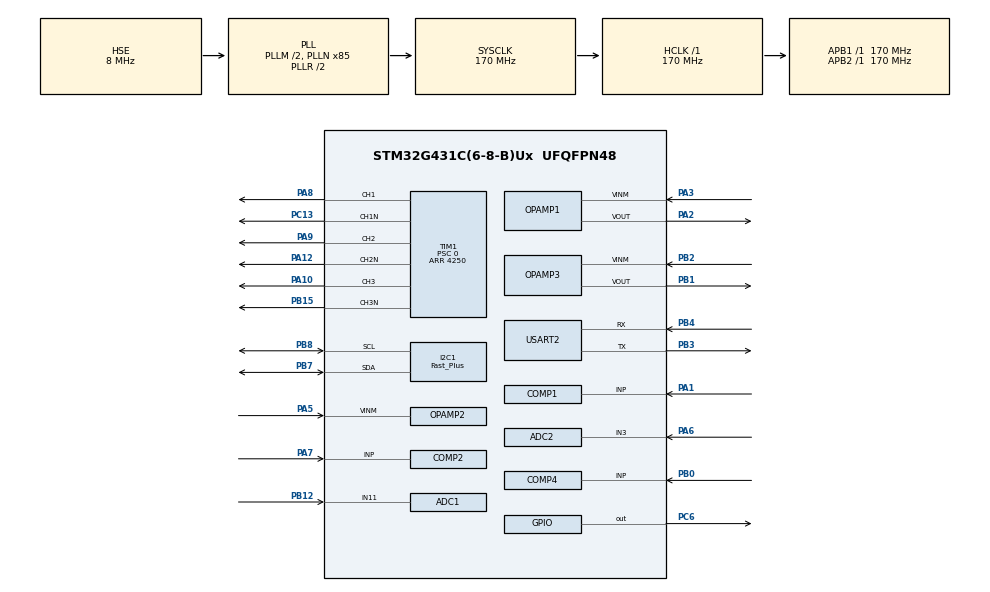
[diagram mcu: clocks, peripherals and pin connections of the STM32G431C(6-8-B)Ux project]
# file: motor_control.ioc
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ADC1.Channel-24\#ChannelRegularConversion=ADC_CHANNEL_11
ADC1.ClockPrescaler=ADC_CLOCK_ASYNC_DIV4
ADC1.EOCSelection=ADC_EOC_SINGLE_CONV
ADC1.EnableInjectedConversion=ENABLE
ADC1.ExternalTrigInjecConv=ADC_EXTERNALTRIGINJEC_T1_CC4
ADC1.InjNumberOfConversion=2
ADC1.InjectedChannel-25\#ChannelInjectedConversion=ADC_CHANNEL_3
ADC1.InjectedChannel-26\#ChannelInjectedConversion=ADC_CHANNEL_12
ADC1.InjectedOffsetNumber-25\#ChannelInjectedConversion=ADC_OFFSET_NONE
ADC1.InjectedOffsetNumber-26\#ChannelInjectedConversion=ADC_OFFSET_NONE
ADC1.InjectedRank-25\#ChannelInjectedConversion=1
ADC1.InjectedRank-26\#ChannelInjectedConversion=2
ADC1.InjectedSamplingTime-25\#ChannelInjectedConversion=ADC_SAMPLETIME_12CYCLES_5
ADC1.InjectedSamplingTime-26\#ChannelInjectedConversion=ADC_SAMPLETIME_12CYCLES_5
ADC1.NbrOfConversionFlag=1
ADC1.OffsetNumber-24\#ChannelRegularConversion=ADC_OFFSET_NONE
ADC1.Rank-24\#ChannelRegularConversion=1
ADC1.Rank1_Channel=ADC_CHANNEL_3
ADC1.Rank2_Channel=ADC_CHANNEL_12
ADC1.SamplingTime-24\#ChannelRegularConversion=ADC_SAMPLETIME_47CYCLES_5
ADC1.injectedQueueMode=DISABLE
ADC1.master=1
ADC2.ClockPrescaler=ADC_CLOCK_ASYNC_DIV4
ADC2.DMAContinuousRequests=DISABLE
ADC2.EOCSelection=ADC_EOC_SINGLE_CONV
ADC2.EnableInjectedConversion=ENABLE
ADC2.EnableRegularConversion=DISABLE
ADC2.ExternalTrigInjecConv=ADC_EXTERNALTRIGINJEC_T1_CC4
ADC2.InjNumberOfConversion=1
ADC2.InjectedChannel-2\#ChannelInjectedConversion=ADC_CHANNEL_3
ADC2.InjectedOffsetNumber-2\#ChannelInjectedConversion=ADC_OFFSET_NONE
ADC2.InjectedRank-2\#ChannelInjectedConversion=1
ADC2.InjectedSamplingTime-2\#ChannelInjectedConversion=ADC_SAMPLETIME_12CYCLES_5
ADC2.Rank2_Channel=ADC_CHANNEL_VOPAMP3_ADC2
ADC2.injectedQueueMode=DISABLE
I2C1.I2C_Speed_Mode=I2C_Fast_Plus
I2C1.Timing=0x00802172
Mcu.Family=STM32G4
Mcu.Name=STM32G431C(6-8-B)Ux
Mcu.Package=UFQFPN48
NVIC.ADC1_2_IRQn=true\:2\:0\:true\:false\:true\:true\:true
NVIC.PriorityGroup=NVIC_PRIORITYGROUP_3
NVIC.TIM1_BRK_TIM15_IRQn=true\:4\:1\:true\:false\:true\:true\:true
NVIC.TIM1_UP_TIM16_IRQn=true\:0\:0\:false\:false\:true\:true\:true
OPAMP1.PgaGain=OPAMP_PGA_GAIN_8_OR_MINUS_7
OPAMP2.PgaGain=OPAMP_PGA_GAIN_8_OR_MINUS_7
OPAMP3.PgaGain=OPAMP_PGA_GAIN_8_OR_MINUS_7
PA1.Signal=SharedAnalog_PA1
PA10.Signal=S_TIM1_CH3
PA12.Mode=PWM Generation2 CH2 CH2N
PA12.Signal=TIM1_CH2N
PA2.Signal=SharedAnalog_PA2
PA3.Mode=PGA Connected-INVERTINGINPUT_IO0_BIAS
PA3.Signal=OPAMP1_VINM
PA5.Mode=PGA Connected-INVERTINGINPUT_IO0_BIAS
PA5.Signal=OPAMP2_VINM
PA6.Signal=SharedAnalog_PA6
PA7.Signal=SharedAnalog_PA7
PA8.Signal=S_TIM1_CH1
PA9.Signal=S_TIM1_CH2
PB0.Signal=SharedAnalog_PB0
PB1.Signal=SharedAnalog_PB1
PB12.Mode=IN11-Single-Ended
PB12.Signal=ADC1_IN11
PB15.Mode=PWM Generation3 CH3 CH3N
PB15.Signal=TIM1_CH3N
PB2.Mode=PGA Connected-INVERTINGINPUT_IO0_BIAS
PB2.Signal=OPAMP3_VINM
PB3.Mode=Asynchronous
PB3.Signal=USART2_TX
PB4.Mode=Asynchronous
PB4.Signal=USART2_RX
PB7.GPIO_FM7=__NULL
PB7.GPIO_Mode=GPIO_MODE_AF_OD
PB7.GPIO_PuPdOD=GPIO_PULLUP
PB7.GPIO_Speed=GPIO_SPEED_FREQ_LOW
PB7.Mode=I2C
PB7.Signal=I2C1_SDA
PB8-BOOT0.GPIO_FM8=__NULL
PB8-BOOT0.GPIO_Mode=GPIO_MODE_AF_OD
PB8-BOOT0.GPIO_PuPdOD=GPIO_PULLUP
PB8-BOOT0.GPIO_Speed=GPIO_SPEED_FREQ_LOW
PB8-BOOT0.Mode=I2C
PB8-BOOT0.Signal=I2C1_SCL
PC13.Mode=PWM Generation1 CH1 CH1N
PC13.Signal=TIM1_CH1N
PC6.Signal=GPIO_Output
PF0-OSC_IN.Mode=HSE-External-Oscillator
PF0-OSC_IN.Signal=RCC_OSC_IN
PF1-OSC_OUT.Mode=HSE-External-Oscillator
PF1-OSC_OUT.Signal=RCC_OSC_OUT
ProjectManager.HeapSize=0x400
ProjectManager.StackSize=0x800
ProjectManager.TargetToolchain=MDK-ARM V5
RCC.ADC12Freq_Value=170000000
RCC.AHBFreq_Value=170000000
RCC.APB1Freq_Value=170000000
RCC.APB1TimFreq_Value=170000000
RCC.APB2Freq_Value=170000000
RCC.APB2TimFreq_Value=170000000
RCC.CortexFreq_Value=170000000
RCC.EXTERNAL_CLOCK_VALUE=12288000
RCC.HCLKFreq_Value=170000000
RCC.HSE_VALUE=8000000
RCC.HSI48_VALUE=48000000
RCC.HSI_VALUE=16000000
RCC.LSE_VALUE=32768
RCC.PLLM=RCC_PLLM_DIV2
RCC.PLLN=85
RCC.PLLSourceVirtual=RCC_PLLSOURCE_HSE
RCC.SYSCLKFreq_VALUE=170000000
RCC.SYSCLKSource=RCC_SYSCLKSOURCE_PLLCLK
RCC.USBFreq_Value=170000000
RCC.VCOOutputFreq_Value=340000000
SH.S_TIM1_CH1.0=TIM1_CH1,PWM Generation1 CH1 CH1N
SH.S_TIM1_CH2.0=TIM1_CH2,PWM Generation2 CH2 CH2N
SH.S_TIM1_CH3.0=TIM1_CH3,PWM Generation3 CH3 CH3N
SH.SharedAnalog_PA1.0=COMP1_INP,INP
SH.SharedAnalog_PA1.1=OPAMP1_VINP,PGA Connected-INVERTINGINPUT_IO0_BIAS
SH.SharedAnalog_PA2.0=OPAMP1_VOUT,PGA Connected-INVERTINGINPUT_IO0_BIAS
SH.SharedAnalog_PA2.1=ADC1_IN3,IN3-Single-Ended
SH.SharedAnalog_PA6.0=ADC2_IN3,IN3-Single-Ended
SH.SharedAnalog_PA6.1=OPAMP2_VOUT,PGA Connected-INVERTINGINPUT_IO0_BIAS
SH.SharedAnalog_PA7.0=COMP2_INP,INP
SH.SharedAnalog_PA7.1=OPAMP2_VINP,PGA Connected-INVERTINGINPUT_IO0_BIAS
SH.SharedAnalog_PB0.0=COMP4_INP,INP
SH.SharedAnalog_PB0.1=OPAMP3_VINP,PGA Connected-INVERTINGINPUT_IO0_BIAS
SH.SharedAnalog_PB1.0=OPAMP3_VOUT,PGA Connected-INVERTINGINPUT_IO0_BIAS
SH.SharedAnalog_PB1.1=ADC1_IN12,IN12-Single-Ended
TIM1.AsymmetricalDeadTime=DISABLE
TIM1.AutoReloadPreload=TIM_AUTORELOAD_PRELOAD_DISABLE
TIM1.Break2Filter=3
TIM1.Break2State=TIM_BREAK2_DISABLE
TIM1.Channel-PWM\ Generation1\ CH1\ CH1N=TIM_CHANNEL_1
TIM1.Channel-PWM\ Generation2\ CH2\ CH2N=TIM_CHANNEL_2
TIM1.Channel-PWM\ Generation3\ CH3\ CH3N=TIM_CHANNEL_3
TIM1.Channel-PWM\ Generation4\ No\ Output=TIM_CHANNEL_4
TIM1.CounterMode=TIM_COUNTERMODE_CENTERALIGNED1
TIM1.DeadTime=200
TIM1.DeadTimePreload=DISABLE
TIM1.FallingDeadTime=70
TIM1.LockLevel=TIM_LOCKLEVEL_1
TIM1.OCMode_PWM-PWM\ Generation4\ No\ Output=TIM_OCMODE_PWM2
TIM1.OffStateIDLEMode=TIM_OSSI_ENABLE
TIM1.OffStateRunMode=TIM_OSSR_ENABLE
TIM1.PeriodNoDither=4250
TIM1.Prescaler=0
TIM1.PulseNoDither_1=0
TIM1.PulseNoDither_2=0
TIM1.PulseNoDither_3=0
TIM1.RepetitionCounter=0
TIM1.SourceBRK2COMP1=TIM_BREAKINPUTSOURCE_ENABLE
TIM1.SourceBRK2COMP2=TIM_BREAKINPUTSOURCE_ENABLE
TIM1.SourceBRK2COMP4=TIM_BREAKINPUTSOURCE_ENABLE
TIM1.SourceBRKCOMP1=TIM_BREAKINPUTSOURCE_DISABLE
TIM1.SourceBRKCOMP2=TIM_BREAKINPUTSOURCE_DISABLE
TIM1.SourceBRKCOMP4=TIM_BREAKINPUTSOURCE_DISABLE
TIM1.TIM_MasterOutputTrigger=TIM_TRGO_OC4REF
USART2.VirtualMode-Asynchronous=VM_ASYNC
USART2.WordLength=WORDLENGTH_8B
VP_COMP1_VS_VREFINT14.Mode=VREFINT_14
VP_COMP2_VS_VREFINT14.Mode=VREFINT_14
VP_COMP4_VS_VREFINT14.Mode=VREFINT_14
VP_CORDIC_VS_CORDIC.Mode=CORDIC_Activate
VP_FMAC_VS_FMAC.Mode=FMAC_Activate
VP_SYS_VS_DBSignals.Mode=DisableDeadBatterySignals
VP_TIM1_VS_no_output4.Mode=PWM Generation4 No Output
board=custom

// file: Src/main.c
/* USER CODE BEGIN Header */
/**
  ******************************************************************************
  * @file           : main.c
  * @brief          : Main program body
  ******************************************************************************
  * @attention
  *
  * <h2><center>&copy; Copyright (c) 2020 STMicroelectronics.
  * All rights reserved.</center></h2>
  *
  * This software component is licensed by ST under BSD 3-Clause license,
  * the "License"; You may not use this file except in compliance with the
  * License. You may obtain a copy of the License at:
  *                        opensource.org/licenses/BSD-3-Clause
  *
  ******************************************************************************
  */
/* USER CODE END Header */

#include "main.h"

/* USER CODE BEGIN Includes */
#include <stdio.h>
#include <math.h>
/* USER CODE END Includes */

ADC_HandleTypeDef hadc1;
ADC_HandleTypeDef hadc2;

COMP_HandleTypeDef hcomp1;
COMP_HandleTypeDef hcomp2;
COMP_HandleTypeDef hcomp4;

CORDIC_HandleTypeDef hcordic;

FMAC_HandleTypeDef hfmac;

I2C_HandleTypeDef hi2c1;

OPAMP_HandleTypeDef hopamp1;
OPAMP_HandleTypeDef hopamp2;
OPAMP_HandleTypeDef hopamp3;

TIM_HandleTypeDef htim1;

UART_HandleTypeDef huart2;

/* USER CODE BEGIN PV */
uint8_t adc_data_ready;
uint16_t buff[3];
uint16_t arm_A_raw_current;
uint16_t arm_B_raw_current;
uint16_t arm_C_raw_current;
uint16_t opamp_3_raw;
uint16_t buff_data[3];
uint16_t buff_2[2];

uint16_t pulse_ch1 = 0;
uint16_t pulse_ch2 = 0;
uint16_t pulse_ch3 = 0;

float Uv_ampl = 0;
float Uv_ang = 0;
float rot_ang_global = 0;

uint8_t sector_number;
float Beta_ang;
float MAX_MODULATION = 0.8660254;
float coeff_timing = 1.7320508;
float PWM_MAX_VAL = 4250;
float eq_first_part;
float t_a, t_b, t_zero;
uint16_t t1, t2, t3, t4;

uint8_t return_value[2];
uint16_t raw_angle;
float res_angle;
HAL_StatusTypeDef status = HAL_OK;
/* USER CODE END PV */

void SystemClock_Config(void);
static void MX_GPIO_Init(void);
static void MX_OPAMP1_Init(void);
static void MX_OPAMP2_Init(void);
static void MX_OPAMP3_Init(void);
static void MX_TIM1_Init(void);
static void MX_USART2_UART_Init(void);
static void MX_ADC1_Init(void);
static void MX_ADC2_Init(void);
static void MX_CORDIC_Init(void);
static void MX_FMAC_Init(void);
static void MX_I2C1_Init(void);
static void MX_COMP1_Init(void);
static void MX_COMP2_Init(void);
static void MX_COMP4_Init(void);
/* USER CODE BEGIN PFP */
#ifdef __GNUC__
/* With GCC, small printf (option LD Linker->Libraries->Small printf
   set to 'Yes') calls __io_putchar() */
#define PUTCHAR_PROTOTYPE int __io_putchar(int ch)
#else
#define PUTCHAR_PROTOTYPE int fputc(int ch, FILE *f)
#endif /* __GNUC__ */
/* USER CODE END PFP */

int main(void)
{
  /* USER CODE BEGIN 1 */
	int cnt = 0;
  /* USER CODE END 1 */

  /* MCU Configuration--------------------------------------------------------*/

  /* Reset of all peripherals, Initializes the Flash interface and the Systick. */
  HAL_Init();

  /* Configure the system clock */
  SystemClock_Config();

  /* Initialize all configured peripherals */
  MX_GPIO_Init();
  MX_OPAMP1_Init();
  MX_OPAMP2_Init();
  MX_OPAMP3_Init();
  MX_TIM1_Init();
  MX_USART2_UART_Init();
  MX_ADC1_Init();
  MX_ADC2_Init();
  MX_CORDIC_Init();
  MX_FMAC_Init();
  MX_I2C1_Init();
  MX_COMP1_Init();
  MX_COMP2_Init();
  MX_COMP4_Init();
  /* USER CODE BEGIN 2 */
//    HAL_ADC_Start_DMA(&hadc1, (uint32_t*)buff, 3);
//    HAL_ADC_Start_DMA(&hadc2, (uint32_t*)buff_2, 1);
	HAL_COMP_Start(&hcomp1);
	HAL_COMP_Start(&hcomp2);
	HAL_COMP_Start(&hcomp4);
	HAL_OPAMP_Start(&hopamp1);
	HAL_OPAMP_Start(&hopamp2);
	HAL_OPAMP_Start(&hopamp3);

	__HAL_ADC_ENABLE_IT(&hadc1,ADC_IT_JEOS);
	__HAL_ADC_ENABLE_IT(&hadc2,ADC_IT_JEOS);
	HAL_ADCEx_InjectedStart_IT(&hadc1);
	HAL_ADCEx_InjectedStart_IT(&hadc2);

	HAL_ADCEx_Calibration_Start(&hadc1, ADC_SINGLE_ENDED);
	HAL_ADCEx_Calibration_Start(&hadc2, ADC_SINGLE_ENDED);

	__HAL_TIM_ENABLE_IT(&htim1, TIM_IT_UPDATE);
	HAL_TIM_Base_Start(&htim1);
    HAL_TIM_PWM_Start(&htim1, TIM_CHANNEL_1);
    HAL_TIM_PWM_Start(&htim1, TIM_CHANNEL_2);
    HAL_TIM_PWM_Start(&htim1, TIM_CHANNEL_3);
	HAL_TIM_PWM_Start(&htim1, TIM_CHANNEL_4);

    HAL_TIMEx_PWMN_Start(&htim1, TIM_CHANNEL_1);
    HAL_TIMEx_PWMN_Start(&htim1, TIM_CHANNEL_2);
    HAL_TIMEx_PWMN_Start(&htim1, TIM_CHANNEL_3);

    pulse_ch1 = 400;
    pulse_ch2 = 800;
    pulse_ch3 = 400;
    Uv_ampl = 0.8;
	HAL_GPIO_WritePin(GPIOC, GPIO_PIN_6, GPIO_PIN_SET);

	HAL_ADC_Start_IT(&hadc1);
	HAL_ADC_Start_IT(&hadc2);

  /* USER CODE END 2 */

  /* Infinite loop */
  /* USER CODE BEGIN WHILE */
    while (1)
    {
    HAL_Delay(5);
    Uv_ang += 50;
	if(Uv_ang >= 360)
		Uv_ang = 0;

    /* Calculate Beta and sector */
    sector_number = (uint8_t)floor(Uv_ang/60.0) + 1;
    Beta_ang = Uv_ang - 60.0*(sector_number-1);

    /* Calculate t_a, t_b, t_0*/
    eq_first_part = coeff_timing * PWM_MAX_VAL * Uv_ampl;

    t_a = eq_first_part * sin((60.0-Beta_ang)*(float)0.0035367765);
    t_b = eq_first_part * sin((Beta_ang)*(float)0.0035367765);
    t_zero = PWM_MAX_VAL - t_a - t_b;

    // t_a     = Uv_ampl * PWM_MAX_VAL * sin((60.0-Beta_ang)*(float)0.0035367765);
    // t_b     = Uv_ampl * PWM_MAX_VAL * sin((Beta_ang)*(float)0.0035367765);
    // t_zero  = PWM_MAX_VAL - t_a - t_b;

    if(t_zero < 0)
        t_zero = 0;

    /* Set pulse values */
    t1 = (uint16_t) floor(t_a + t_b + t_zero/2.0);
    t2 = (uint16_t) floor(t_b + t_zero/2.0);
    t3 = (uint16_t) floor(t_a + t_zero/2.0);
    t4 = (uint16_t) floor(t_zero/2.0);

    switch (sector_number)
    {
    case 1:
        pulse_ch1 = t1;
        pulse_ch2 = t2;
        pulse_ch3 = t4;
        break;
    case 2:
        pulse_ch1 = t3;
        pulse_ch2 = t1;
        pulse_ch3 = t4;
        break;
    case 3:
        pulse_ch1 = t4;
        pulse_ch2 = t1;
        pulse_ch3 = t2;
        break;
    case 4:
        pulse_ch1 = t4;
        pulse_ch2 = t3;
        pulse_ch3 = t1;
        break;
    case 5:
        pulse_ch1 = t2;
        pulse_ch2 = t4;
        pulse_ch3 = t1;
        break;
    case 6:
        pulse_ch1 = t1;
        pulse_ch2 = t4;
        pulse_ch3 = t3;
        break;

    default:
        pulse_ch1 = t1;
        pulse_ch2 = t2;
        pulse_ch3 = t4;
        break;
    }

    /* Set timer pulse */
    __HAL_TIM_SET_COMPARE(&htim1, TIM_CHANNEL_1, pulse_ch1);
    __HAL_TIM_SET_COMPARE(&htim1, TIM_CHANNEL_2, pulse_ch2);
    __HAL_TIM_SET_COMPARE(&htim1, TIM_CHANNEL_3, pulse_ch3);

    /* Read encoder */

    status = HAL_I2C_Mem_Read(&hi2c1, 0x36<<1, 0x0E, I2C_MEMADD_SIZE_8BIT, (return_value), 2, 100);
	raw_angle = (uint16_t)(return_value[0] << 8) + return_value[1];
	res_angle = 360.0 / 4096.0 * raw_angle;

	if(cnt == 10)
	{
		printf("%f \n", res_angle);
//		printf("%d %d %d %d\n", buff_data[0], buff_data[1], buff_data[2], buff_2[0]);
//		printf("%d\n", buff_data[1]);
		cnt = 0;
	}
	cnt ++;

    /* USER CODE END WHILE */

    }
}

void SystemClock_Config(void)
{
  RCC_OscInitTypeDef RCC_OscInitStruct = {0};
  RCC_ClkInitTypeDef RCC_ClkInitStruct = {0};
  RCC_PeriphCLKInitTypeDef PeriphClkInit = {0};

  /** Configure the main internal regulator output voltage
  */
  HAL_PWREx_ControlVoltageScaling(PWR_REGULATOR_VOLTAGE_SCALE1_BOOST);
  /** Initializes the CPU, AHB and APB busses clocks
  */
  RCC_OscInitStruct.OscillatorType = RCC_OSCILLATORTYPE_HSE;
  RCC_OscInitStruct.HSEState = RCC_HSE_ON;
  RCC_OscInitStruct.PLL.PLLState = RCC_PLL_ON;
  RCC_OscInitStruct.PLL.PLLSource = RCC_PLLSOURCE_HSE;
  RCC_OscInitStruct.PLL.PLLM = RCC_PLLM_DIV2;
  RCC_OscInitStruct.PLL.PLLN = 85;
  RCC_OscInitStruct.PLL.PLLP = RCC_PLLP_DIV2;
  RCC_OscInitStruct.PLL.PLLQ = RCC_PLLQ_DIV2;
  RCC_OscInitStruct.PLL.PLLR = RCC_PLLR_DIV2;
  if (HAL_RCC_OscConfig(&RCC_OscInitStruct) != HAL_OK)
  {
    Error_Handler();
  }
  /** Initializes the CPU, AHB and APB busses clocks
  */
  RCC_ClkInitStruct.ClockType = RCC_CLOCKTYPE_HCLK|RCC_CLOCKTYPE_SYSCLK
                              |RCC_CLOCKTYPE_PCLK1|RCC_CLOCKTYPE_PCLK2;
  RCC_ClkInitStruct.SYSCLKSource = RCC_SYSCLKSOURCE_PLLCLK;
  RCC_ClkInitStruct.AHBCLKDivider = RCC_SYSCLK_DIV1;
  RCC_ClkInitStruct.APB1CLKDivider = RCC_HCLK_DIV1;
  RCC_ClkInitStruct.APB2CLKDivider = RCC_HCLK_DIV1;

  if (HAL_RCC_ClockConfig(&RCC_ClkInitStruct, FLASH_LATENCY_8) != HAL_OK)
  {
    Error_Handler();
  }
  /** Initializes the peripherals clocks
  */
  PeriphClkInit.PeriphClockSelection = RCC_PERIPHCLK_USART2|RCC_PERIPHCLK_I2C1
                              |RCC_PERIPHCLK_ADC12;
  PeriphClkInit.Usart2ClockSelection = RCC_USART2CLKSOURCE_PCLK1;
  PeriphClkInit.I2c1ClockSelection = RCC_I2C1CLKSOURCE_PCLK1;
  PeriphClkInit.Adc12ClockSelection = RCC_ADC12CLKSOURCE_SYSCLK;
  if (HAL_RCCEx_PeriphCLKConfig(&PeriphClkInit) != HAL_OK)
  {
    Error_Handler();
  }
}

static void MX_ADC1_Init(void)
{

  ADC_MultiModeTypeDef multimode = {0};
  ADC_ChannelConfTypeDef sConfig = {0};
  ADC_InjectionConfTypeDef sConfigInjected = {0};

  /** Common config
  */
  hadc1.Instance = ADC1;
  hadc1.Init.ClockPrescaler = ADC_CLOCK_ASYNC_DIV4;
  hadc1.Init.Resolution = ADC_RESOLUTION_12B;
  hadc1.Init.DataAlign = ADC_DATAALIGN_RIGHT;
  hadc1.Init.GainCompensation = 0;
  hadc1.Init.ScanConvMode = ADC_SCAN_ENABLE;
  hadc1.Init.EOCSelection = ADC_EOC_SINGLE_CONV;
  hadc1.Init.LowPowerAutoWait = DISABLE;
  hadc1.Init.ContinuousConvMode = DISABLE;
  hadc1.Init.NbrOfConversion = 1;
  hadc1.Init.DiscontinuousConvMode = DISABLE;
  hadc1.Init.ExternalTrigConv = ADC_SOFTWARE_START;
  hadc1.Init.ExternalTrigConvEdge = ADC_EXTERNALTRIGCONVEDGE_NONE;
  hadc1.Init.DMAContinuousRequests = DISABLE;
  hadc1.Init.Overrun = ADC_OVR_DATA_PRESERVED;
  hadc1.Init.OversamplingMode = DISABLE;
  if (HAL_ADC_Init(&hadc1) != HAL_OK)
  {
    Error_Handler();
  }
  /** Configure the ADC multi-mode
  */
  multimode.Mode = ADC_MODE_INDEPENDENT;
  if (HAL_ADCEx_MultiModeConfigChannel(&hadc1, &multimode) != HAL_OK)
  {
    Error_Handler();
  }
  /** Configure Regular Channel
  */
  sConfig.Channel = ADC_CHANNEL_11;
  sConfig.Rank = ADC_REGULAR_RANK_1;
  sConfig.SamplingTime = ADC_SAMPLETIME_47CYCLES_5;
  sConfig.SingleDiff = ADC_SINGLE_ENDED;
  sConfig.OffsetNumber = ADC_OFFSET_NONE;
  sConfig.Offset = 0;
  if (HAL_ADC_ConfigChannel(&hadc1, &sConfig) != HAL_OK)
  {
    Error_Handler();
  }
  /** Configure Injected Channel
  */
  sConfigInjected.InjectedChannel = ADC_CHANNEL_3;
  sConfigInjected.InjectedRank = ADC_INJECTED_RANK_1;
  sConfigInjected.InjectedSamplingTime = ADC_SAMPLETIME_12CYCLES_5;
  sConfigInjected.InjectedSingleDiff = ADC_SINGLE_ENDED;
  sConfigInjected.InjectedOffsetNumber = ADC_OFFSET_NONE;
  sConfigInjected.InjectedOffset = 0;
  sConfigInjected.InjectedNbrOfConversion = 2;
  sConfigInjected.InjectedDiscontinuousConvMode = DISABLE;
  sConfigInjected.AutoInjectedConv = DISABLE;
  sConfigInjected.QueueInjectedContext = DISABLE;
  sConfigInjected.ExternalTrigInjecConv = ADC_EXTERNALTRIGINJEC_T1_TRGO;
  sConfigInjected.ExternalTrigInjecConvEdge = ADC_EXTERNALTRIGINJECCONV_EDGE_RISING;
  sConfigInjected.InjecOversamplingMode = DISABLE;
  if (HAL_ADCEx_InjectedConfigChannel(&hadc1, &sConfigInjected) != HAL_OK)
  {
    Error_Handler();
  }
  /** Configure Injected Channel
  */
  sConfigInjected.InjectedChannel = ADC_CHANNEL_12;
  sConfigInjected.InjectedRank = ADC_INJECTED_RANK_2;
  if (HAL_ADCEx_InjectedConfigChannel(&hadc1, &sConfigInjected) != HAL_OK)
  {
    Error_Handler();
  }

}

static void MX_ADC2_Init(void)
{

  ADC_InjectionConfTypeDef sConfigInjected = {0};

  /** Common config
  */
  hadc2.Instance = ADC2;
  hadc2.Init.ClockPrescaler = ADC_CLOCK_ASYNC_DIV4;
  hadc2.Init.Resolution = ADC_RESOLUTION_12B;
  hadc2.Init.DataAlign = ADC_DATAALIGN_RIGHT;
  hadc2.Init.GainCompensation = 0;
  hadc2.Init.ScanConvMode = ADC_SCAN_DISABLE;
  hadc2.Init.EOCSelection = ADC_EOC_SINGLE_CONV;
  hadc2.Init.LowPowerAutoWait = DISABLE;
  hadc2.Init.ContinuousConvMode = DISABLE;
  hadc2.Init.NbrOfConversion = 1;
  hadc2.Init.DiscontinuousConvMode = DISABLE;
  hadc2.Init.DMAContinuousRequests = DISABLE;
  hadc2.Init.Overrun = ADC_OVR_DATA_PRESERVED;
  hadc2.Init.OversamplingMode = DISABLE;
  if (HAL_ADC_Init(&hadc2) != HAL_OK)
  {
    Error_Handler();
  }
  /** Configure Injected Channel
  */
  sConfigInjected.InjectedChannel = ADC_CHANNEL_3;
  sConfigInjected.InjectedRank = ADC_INJECTED_RANK_1;
  sConfigInjected.InjectedSamplingTime = ADC_SAMPLETIME_12CYCLES_5;
  sConfigInjected.InjectedSingleDiff = ADC_SINGLE_ENDED;
  sConfigInjected.InjectedOffsetNumber = ADC_OFFSET_NONE;
  sConfigInjected.InjectedOffset = 0;
  sConfigInjected.InjectedNbrOfConversion = 1;
  sConfigInjected.InjectedDiscontinuousConvMode = DISABLE;
  sConfigInjected.AutoInjectedConv = DISABLE;
  sConfigInjected.QueueInjectedContext = DISABLE;
  sConfigInjected.ExternalTrigInjecConv = ADC_EXTERNALTRIGINJEC_T1_TRGO;
  sConfigInjected.ExternalTrigInjecConvEdge = ADC_EXTERNALTRIGINJECCONV_EDGE_RISING;
  sConfigInjected.InjecOversamplingMode = DISABLE;
  if (HAL_ADCEx_InjectedConfigChannel(&hadc2, &sConfigInjected) != HAL_OK)
  {
    Error_Handler();
  }

}

static void MX_COMP1_Init(void)
{

  hcomp1.Instance = COMP1;
  hcomp1.Init.InputPlus = COMP_INPUT_PLUS_IO1;
  hcomp1.Init.InputMinus = COMP_INPUT_MINUS_1_4VREFINT;
  hcomp1.Init.OutputPol = COMP_OUTPUTPOL_NONINVERTED;
  hcomp1.Init.Hysteresis = COMP_HYSTERESIS_NONE;
  hcomp1.Init.BlankingSrce = COMP_BLANKINGSRC_NONE;
  hcomp1.Init.TriggerMode = COMP_TRIGGERMODE_NONE;
  if (HAL_COMP_Init(&hcomp1) != HAL_OK)
  {
    Error_Handler();
  }

}

static void MX_COMP2_Init(void)
{

  hcomp2.Instance = COMP2;
  hcomp2.Init.InputPlus = COMP_INPUT_PLUS_IO1;
  hcomp2.Init.InputMinus = COMP_INPUT_MINUS_1_4VREFINT;
  hcomp2.Init.OutputPol = COMP_OUTPUTPOL_NONINVERTED;
  hcomp2.Init.Hysteresis = COMP_HYSTERESIS_NONE;
  hcomp2.Init.BlankingSrce = COMP_BLANKINGSRC_NONE;
  hcomp2.Init.TriggerMode = COMP_TRIGGERMODE_NONE;
  if (HAL_COMP_Init(&hcomp2) != HAL_OK)
  {
    Error_Handler();
  }

}

static void MX_COMP4_Init(void)
{

  hcomp4.Instance = COMP4;
  hcomp4.Init.InputPlus = COMP_INPUT_PLUS_IO1;
  hcomp4.Init.InputMinus = COMP_INPUT_MINUS_1_4VREFINT;
  hcomp4.Init.OutputPol = COMP_OUTPUTPOL_NONINVERTED;
  hcomp4.Init.Hysteresis = COMP_HYSTERESIS_NONE;
  hcomp4.Init.BlankingSrce = COMP_BLANKINGSRC_NONE;
  hcomp4.Init.TriggerMode = COMP_TRIGGERMODE_NONE;
  if (HAL_COMP_Init(&hcomp4) != HAL_OK)
  {
    Error_Handler();
  }

}

static void MX_CORDIC_Init(void)
{

  hcordic.Instance = CORDIC;
  if (HAL_CORDIC_Init(&hcordic) != HAL_OK)
  {
    Error_Handler();
  }

}

static void MX_FMAC_Init(void)
{

  hfmac.Instance = FMAC;
  if (HAL_FMAC_Init(&hfmac) != HAL_OK)
  {
    Error_Handler();
  }

}

static void MX_I2C1_Init(void)
{

  hi2c1.Instance = I2C1;
  hi2c1.Init.Timing = 0x00802172;
  hi2c1.Init.OwnAddress1 = 0;
  hi2c1.Init.AddressingMode = I2C_ADDRESSINGMODE_7BIT;
  hi2c1.Init.DualAddressMode = I2C_DUALADDRESS_DISABLE;
  hi2c1.Init.OwnAddress2 = 0;
  hi2c1.Init.OwnAddress2Masks = I2C_OA2_NOMASK;
  hi2c1.Init.GeneralCallMode = I2C_GENERALCALL_DISABLE;
  hi2c1.Init.NoStretchMode = I2C_NOSTRETCH_DISABLE;
  if (HAL_I2C_Init(&hi2c1) != HAL_OK)
  {
    Error_Handler();
  }
  /** Configure Analogue filter
  */
  if (HAL_I2CEx_ConfigAnalogFilter(&hi2c1, I2C_ANALOGFILTER_ENABLE) != HAL_OK)
  {
    Error_Handler();
  }
  /** Configure Digital filter
  */
  if (HAL_I2CEx_ConfigDigitalFilter(&hi2c1, 0) != HAL_OK)
  {
    Error_Handler();
  }
  /** I2C Fast mode Plus enable
  */
  __HAL_SYSCFG_FASTMODEPLUS_ENABLE(I2C_FASTMODEPLUS_I2C1);

}

static void MX_OPAMP1_Init(void)
{

  hopamp1.Instance = OPAMP1;
  hopamp1.Init.PowerMode = OPAMP_POWERMODE_NORMAL;
  hopamp1.Init.Mode = OPAMP_PGA_MODE;
  hopamp1.Init.NonInvertingInput = OPAMP_NONINVERTINGINPUT_IO0;
  hopamp1.Init.InternalOutput = DISABLE;
  hopamp1.Init.TimerControlledMuxmode = OPAMP_TIMERCONTROLLEDMUXMODE_DISABLE;
  hopamp1.Init.PgaConnect = OPAMP_PGA_CONNECT_INVERTINGINPUT_IO0_BIAS;
  hopamp1.Init.PgaGain = OPAMP_PGA_GAIN_16_OR_MINUS_15;
  hopamp1.Init.UserTrimming = OPAMP_TRIMMING_FACTORY;
  if (HAL_OPAMP_Init(&hopamp1) != HAL_OK)
  {
    Error_Handler();
  }

}

static void MX_OPAMP2_Init(void)
{

  hopamp2.Instance = OPAMP2;
  hopamp2.Init.PowerMode = OPAMP_POWERMODE_NORMAL;
  hopamp2.Init.Mode = OPAMP_PGA_MODE;
  hopamp2.Init.NonInvertingInput = OPAMP_NONINVERTINGINPUT_IO0;
  hopamp2.Init.InternalOutput = DISABLE;
  hopamp2.Init.TimerControlledMuxmode = OPAMP_TIMERCONTROLLEDMUXMODE_DISABLE;
  hopamp2.Init.PgaConnect = OPAMP_PGA_CONNECT_INVERTINGINPUT_IO0_BIAS;
  hopamp2.Init.PgaGain = OPAMP_PGA_GAIN_16_OR_MINUS_15;
  hopamp2.Init.UserTrimming = OPAMP_TRIMMING_FACTORY;
  if (HAL_OPAMP_Init(&hopamp2) != HAL_OK)
  {
    Error_Handler();
  }

}

static void MX_OPAMP3_Init(void)
{

  hopamp3.Instance = OPAMP3;
  hopamp3.Init.PowerMode = OPAMP_POWERMODE_NORMAL;
  hopamp3.Init.Mode = OPAMP_PGA_MODE;
  hopamp3.Init.NonInvertingInput = OPAMP_NONINVERTINGINPUT_IO0;
  hopamp3.Init.InternalOutput = DISABLE;
  hopamp3.Init.TimerControlledMuxmode = OPAMP_TIMERCONTROLLEDMUXMODE_DISABLE;
  hopamp3.Init.PgaConnect = OPAMP_PGA_CONNECT_INVERTINGINPUT_IO0_BIAS;
  hopamp3.Init.PgaGain = OPAMP_PGA_GAIN_16_OR_MINUS_15;
  hopamp3.Init.UserTrimming = OPAMP_TRIMMING_FACTORY;
  if (HAL_OPAMP_Init(&hopamp3) != HAL_OK)
  {
    Error_Handler();
  }

}

static void MX_TIM1_Init(void)
{

  TIM_MasterConfigTypeDef sMasterConfig = {0};
  TIMEx_BreakInputConfigTypeDef sBreakInputConfig = {0};
  TIM_OC_InitTypeDef sConfigOC = {0};
  TIM_BreakDeadTimeConfigTypeDef sBreakDeadTimeConfig = {0};

  htim1.Instance = TIM1;
  htim1.Init.Prescaler = 0;
  htim1.Init.CounterMode = TIM_COUNTERMODE_CENTERALIGNED1;
  htim1.Init.Period = 4250;
  htim1.Init.ClockDivision = TIM_CLOCKDIVISION_DIV1;
  htim1.Init.RepetitionCounter = 20;
  htim1.Init.AutoReloadPreload = TIM_AUTORELOAD_PRELOAD_DISABLE;
  if (HAL_TIM_PWM_Init(&htim1) != HAL_OK)
  {
    Error_Handler();
  }
  sMasterConfig.MasterOutputTrigger = TIM_TRGO_UPDATE;
  sMasterConfig.MasterOutputTrigger2 = TIM_TRGO2_RESET;
  sMasterConfig.MasterSlaveMode = TIM_MASTERSLAVEMODE_DISABLE;
  if (HAL_TIMEx_MasterConfigSynchronization(&htim1, &sMasterConfig) != HAL_OK)
  {
    Error_Handler();
  }
  sBreakInputConfig.Source = TIM_BREAKINPUTSOURCE_COMP1;
  sBreakInputConfig.Enable = TIM_BREAKINPUTSOURCE_ENABLE;
  sBreakInputConfig.Polarity = TIM_BREAKINPUTSOURCE_POLARITY_HIGH;
  if (HAL_TIMEx_ConfigBreakInput(&htim1, TIM_BREAKINPUT_BRK2, &sBreakInputConfig) != HAL_OK)
  {
    Error_Handler();
  }
  sBreakInputConfig.Source = TIM_BREAKINPUTSOURCE_COMP2;
  if (HAL_TIMEx_ConfigBreakInput(&htim1, TIM_BREAKINPUT_BRK2, &sBreakInputConfig) != HAL_OK)
  {
    Error_Handler();
  }
  sBreakInputConfig.Source = TIM_BREAKINPUTSOURCE_COMP4;
  if (HAL_TIMEx_ConfigBreakInput(&htim1, TIM_BREAKINPUT_BRK2, &sBreakInputConfig) != HAL_OK)
  {
    Error_Handler();
  }
  sConfigOC.OCMode = TIM_OCMODE_PWM1;
  sConfigOC.Pulse = 0;
  sConfigOC.OCPolarity = TIM_OCPOLARITY_HIGH;
  sConfigOC.OCNPolarity = TIM_OCNPOLARITY_HIGH;
  sConfigOC.OCFastMode = TIM_OCFAST_DISABLE;
  sConfigOC.OCIdleState = TIM_OCIDLESTATE_RESET;
  sConfigOC.OCNIdleState = TIM_OCNIDLESTATE_RESET;
  if (HAL_TIM_PWM_ConfigChannel(&htim1, &sConfigOC, TIM_CHANNEL_1) != HAL_OK)
  {
    Error_Handler();
  }
  sConfigOC.Pulse = 0;
  if (HAL_TIM_PWM_ConfigChannel(&htim1, &sConfigOC, TIM_CHANNEL_2) != HAL_OK)
  {
    Error_Handler();
  }
  sConfigOC.Pulse = 0;
  if (HAL_TIM_PWM_ConfigChannel(&htim1, &sConfigOC, TIM_CHANNEL_3) != HAL_OK)
  {
    Error_Handler();
  }
  sConfigOC.OCMode = TIM_OCMODE_PWM2;
  sConfigOC.Pulse = 0;
  sConfigOC.OCNPolarity = TIM_OCNPOLARITY_HIGH;
  if (HAL_TIM_PWM_ConfigChannel(&htim1, &sConfigOC, TIM_CHANNEL_4) != HAL_OK)
  {
    Error_Handler();
  }
  sBreakDeadTimeConfig.OffStateRunMode = TIM_OSSR_ENABLE;
  sBreakDeadTimeConfig.OffStateIDLEMode = TIM_OSSI_ENABLE;
  sBreakDeadTimeConfig.LockLevel = TIM_LOCKLEVEL_1;
  sBreakDeadTimeConfig.DeadTime = 200;
  sBreakDeadTimeConfig.BreakState = TIM_BREAK_DISABLE;
  sBreakDeadTimeConfig.BreakPolarity = TIM_BREAKPOLARITY_HIGH;
  sBreakDeadTimeConfig.BreakFilter = 0;
  sBreakDeadTimeConfig.BreakAFMode = TIM_BREAK_AFMODE_INPUT;
  sBreakDeadTimeConfig.Break2State = TIM_BREAK2_DISABLE;
  sBreakDeadTimeConfig.Break2Polarity = TIM_BREAK2POLARITY_HIGH;
  sBreakDeadTimeConfig.Break2Filter = 3;
  sBreakDeadTimeConfig.Break2AFMode = TIM_BREAK_AFMODE_INPUT;
  sBreakDeadTimeConfig.AutomaticOutput = TIM_AUTOMATICOUTPUT_DISABLE;
  if (HAL_TIMEx_ConfigBreakDeadTime(&htim1, &sBreakDeadTimeConfig) != HAL_OK)
  {
    Error_Handler();
  }
  HAL_TIM_MspPostInit(&htim1);

}

static void MX_USART2_UART_Init(void)
{

  huart2.Instance = USART2;
  huart2.Init.BaudRate = 115200;
  huart2.Init.WordLength = UART_WORDLENGTH_8B;
  huart2.Init.StopBits = UART_STOPBITS_1;
  huart2.Init.Parity = UART_PARITY_NONE;
  huart2.Init.Mode = UART_MODE_TX_RX;
  huart2.Init.HwFlowCtl = UART_HWCONTROL_NONE;
  huart2.Init.OverSampling = UART_OVERSAMPLING_16;
  huart2.Init.OneBitSampling = UART_ONE_BIT_SAMPLE_DISABLE;
  huart2.Init.ClockPrescaler = UART_PRESCALER_DIV1;
  huart2.AdvancedInit.AdvFeatureInit = UART_ADVFEATURE_NO_INIT;
  if (HAL_UART_Init(&huart2) != HAL_OK)
  {
    Error_Handler();
  }
  if (HAL_UARTEx_SetTxFifoThreshold(&huart2, UART_TXFIFO_THRESHOLD_1_8) != HAL_OK)
  {
    Error_Handler();
  }
  if (HAL_UARTEx_SetRxFifoThreshold(&huart2, UART_RXFIFO_THRESHOLD_1_8) != HAL_OK)
  {
    Error_Handler();
  }
  if (HAL_UARTEx_DisableFifoMode(&huart2) != HAL_OK)
  {
    Error_Handler();
  }

}

static void MX_GPIO_Init(void)
{
  GPIO_InitTypeDef GPIO_InitStruct = {0};

  /* GPIO Ports Clock Enable */
  __HAL_RCC_GPIOC_CLK_ENABLE();
  __HAL_RCC_GPIOF_CLK_ENABLE();
  __HAL_RCC_GPIOA_CLK_ENABLE();
  __HAL_RCC_GPIOB_CLK_ENABLE();

  /*Configure GPIO pin Output Level */
  HAL_GPIO_WritePin(GPIOC, GPIO_PIN_6, GPIO_PIN_RESET);

  /*Configure GPIO pin : PC6 */
  GPIO_InitStruct.Pin = GPIO_PIN_6;
  GPIO_InitStruct.Mode = GPIO_MODE_OUTPUT_PP;
  GPIO_InitStruct.Pull = GPIO_NOPULL;
  GPIO_InitStruct.Speed = GPIO_SPEED_FREQ_LOW;
  HAL_GPIO_Init(GPIOC, &GPIO_InitStruct);

}

/* USER CODE BEGIN 4 */
PUTCHAR_PROTOTYPE
{
  /* Place your implementation of fputc here */
  /* e.g. write a character to the LPUART1 and Loop until the end of transmission */
  HAL_UART_Transmit(&huart2, (uint8_t *)&ch, 1, 0xFFFF);

  return ch;
}

void HAL_ADC_ConvCpltCallback(ADC_HandleTypeDef* hadc)
{

}

void HAL_ADCEx_InjectedConvCpltCallback(ADC_HandleTypeDef *hadc)
{

	if(hadc->Instance == ADC1) //check if the interrupt comes from ACD1
    {
        arm_A_raw_current = HAL_ADCEx_InjectedGetValue(&hadc1, ADC_INJECTED_RANK_1);
		arm_C_raw_current = HAL_ADCEx_InjectedGetValue(&hadc1, ADC_INJECTED_RANK_2);
//		__HAL_TIM_ENABLE_IT(&htim1, TIM_IT_UPDATE);
    }
	if(hadc->Instance == ADC2) //check if the interrupt comes from ACD1
    {
        arm_B_raw_current = HAL_ADCEx_InjectedGetValue(&hadc2, ADC_INJECTED_RANK_1);
//		opamp_3_raw = HAL_ADCEx_InjectedGetValue(&hadc2, ADC_INJECTED_RANK_2);
    }

}

void HAL_TIMEx_Break2Callback(TIM_HandleTypeDef *htim)
{
	__HAL_TIM_SET_COMPARE(&htim1, TIM_CHANNEL_1, 0);
    __HAL_TIM_SET_COMPARE(&htim1, TIM_CHANNEL_2, 0);
    __HAL_TIM_SET_COMPARE(&htim1, TIM_CHANNEL_3, 0);

	HAL_TIM_PWM_Stop(&htim1, TIM_CHANNEL_1);
    HAL_TIM_PWM_Stop(&htim1, TIM_CHANNEL_2);
    HAL_TIM_PWM_Stop(&htim1, TIM_CHANNEL_3);

    HAL_TIMEx_PWMN_Stop(&htim1, TIM_CHANNEL_1);
    HAL_TIMEx_PWMN_Stop(&htim1, TIM_CHANNEL_2);
    HAL_TIMEx_PWMN_Stop(&htim1, TIM_CHANNEL_3);
}

void HAL_TIM_PeriodElapsedCallback(TIM_HandleTypeDef *htim)
{
//	 __HAL_TIM_DISABLE_IT(&htim1, TIM_IT_UPDATE);
//	 HAL_ADCEx_InjectedStart_IT(&hadc1);
//	 HAL_ADCEx_InjectedStart_IT(&hadc2);
}

/* USER CODE END 4 */

void Error_Handler(void)
{
}

/************************ (C) COPYRIGHT STMicroelectronics *****END OF FILE****/
